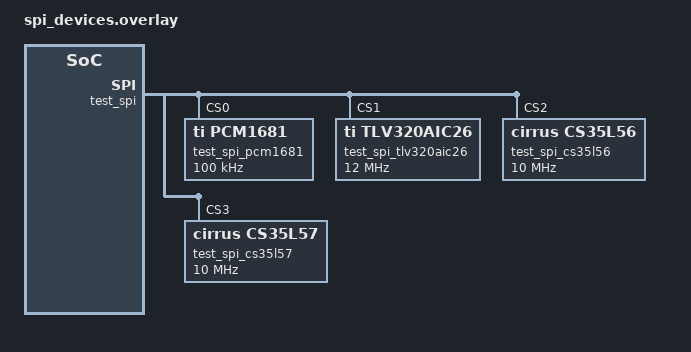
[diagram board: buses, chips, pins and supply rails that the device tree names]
/*
 * Copyright (c) 2025 Basalte bv
 * SPDX-License-Identifier: Apache-2.0
 */

/ {
	test {
		#address-cells = <1>;
		#size-cells = <1>;

		test_spi: spi@11112222 {
			compatible = "vnd,spi";
			reg = <0x11112222 0x1000>;
			#address-cells = <1>;
			#size-cells = <0>;
			status = "okay";

			test_spi_pcm1681: pcm1681@0 {
				compatible = "ti,pcm1681";
				reg = <0x0>;
				spi-max-frequency = <100000>;
				status = "okay";
			};

			test_spi_tlv320aic26: tlv320aic26@1 {
				compatible = "ti,tlv320aic26";
				reg = <0x1>;
				spi-max-frequency = <12000000>;
				mclk-frequency = <12000000>;
				status = "okay";
			};

			test_spi_cs35l56: cs35l56@2 {
				compatible = "cirrus,cs35l56";
				reg = <0x2>;
				spi-max-frequency = <10000000>;
				status = "okay";
			};

			test_spi_cs35l57: cs35l57@3 {
				compatible = "cirrus,cs35l57";
				reg = <0x3>;
				spi-max-frequency = <10000000>;
				status = "okay";
			};
		};
	};
};
